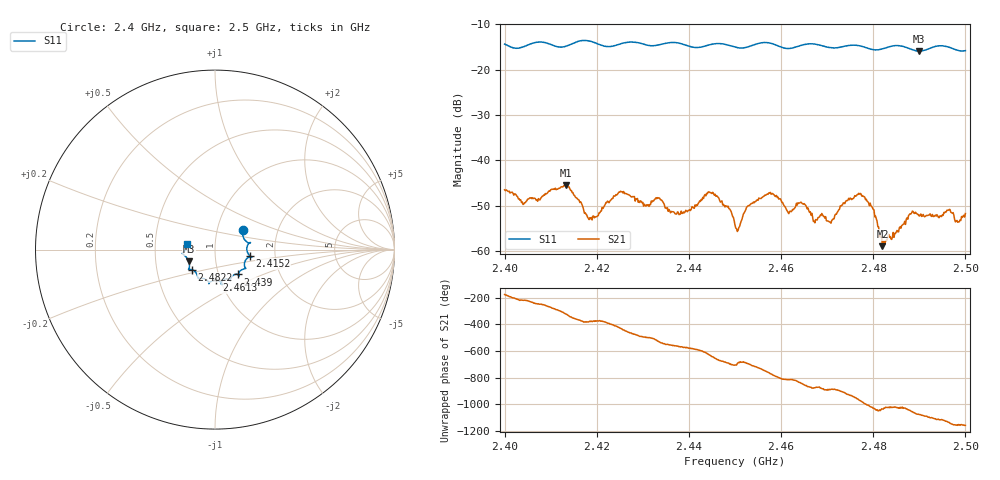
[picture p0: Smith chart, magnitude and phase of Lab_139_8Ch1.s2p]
# Hz S RI R 50
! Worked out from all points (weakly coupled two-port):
!   601 points, 2.4 GHz to 2.5 GHz, reference 50 ohm
!   highest |S21| = -45.40 dB at 2.4133 GHz (marker M1); lowest = -58.9 dB at 2.482 GHz (marker M2)
!   lowest |S11| = -15.9 dB at 2.4898 GHz (marker M3), VSWR 1.38, Z = 37 - j5.02 ohm
!   |S11| at or under -10 dB: start of sweep to end of sweep
!   S12 and S22 are empty: the file has one direction only
!   S11 on the Smith chart (normalised r, x): 2.4 GHz: 1.33, +0.31; 2.4152 GHz: 1.48, -0.11; 2.439 GHz: 1.24, -0.35; 2.4613 GHz: 0.96, -0.34; 2.4822 GHz: 0.76, -0.17; 2.5 GHz: 0.73, +0.05
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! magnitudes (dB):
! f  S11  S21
! 2.4 GHz  -14.4  -46.5
! 2.4042 GHz  -14.9  -49.6
! 2.4133 GHz  -14.8  -45.4
! 2.4152 GHz  -14.1  -47.7
! 2.4167 GHz  -13.6  -49.4
! 2.4185 GHz  -13.7  -52.6
! 2.425 GHz  -14.4  -47.0
! 2.4333 GHz  -14.6  -48.3
! 2.439 GHz  -14.5  -51.6
! 2.4447 GHz  -14.5  -47.1
! 2.45 GHz  -15.0  -54.3
! 2.4572 GHz  -14.1  -47.5
! 2.4613 GHz  -15.3  -51.1
! 2.4667 GHz  -14.3  -51.6
! 2.4708 GHz  -15.2  -53.8
! 2.4772 GHz  -14.8  -47.3
! 2.4798 GHz  -15.6  -50.4
! 2.482 GHz  -15.4  -58.9
! 2.4822 GHz  -15.4  -58.0
! 2.4833 GHz  -15.0  -56.3
! 2.4898 GHz  -15.9  -51.9
! 2.5 GHz  -15.8  -51.7
